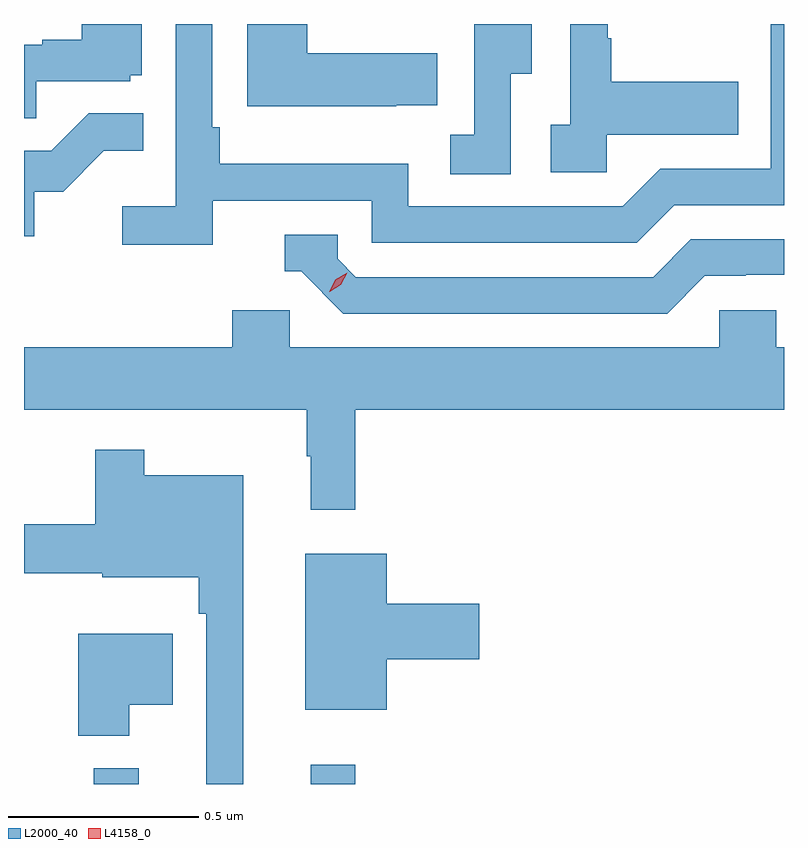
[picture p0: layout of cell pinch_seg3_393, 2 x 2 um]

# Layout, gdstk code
import gdstk
lib = gdstk.Library(unit=1e-6, precision=1e-09)
def R(c, l, rs):  # rectangles x0, y0, x1, y1
    for r in rs: c.add(gdstk.rectangle(r[:2], r[2:], *l))
def P(c, l, *ps):  # polygons
    for p in ps: c.add(gdstk.Polygon(p, *l))
L2000_40 = (2000, 40)
L4158_0 = (4158, 0)

pinch_seg3_393 = lib.new_cell('pinch_seg3_393')
R(pinch_seg3_393, L2000_40, [(965.029,686.611,965.147,686.653), (965.6,686.611,965.717,686.662)])
P(pinch_seg3_393, L2000_40, [(966.378,688.319),(966.725,688.319),(966.725,688.459),(966.391,688.459),(966.391,688.574),(966.381,688.574),(966.381,688.611),(966.282,688.611),(966.282,688.346),(966.231,688.346),(966.231,688.221),(966.378,688.221)],
  [(965.342,688.146),(965.76,688.146),(965.76,688.035),(966.457,688.035),(966.556,688.134),(966.845,688.134),(966.845,688.611),(966.81,688.611),(966.81,688.23),(966.519,688.23),(966.42,688.131),(965.856,688.131),(965.856,688.243),(965.36,688.243),(965.36,688.339),(965.34,688.339),(965.34,688.611),(965.244,688.611),(965.244,688.132),(965.103,688.132),(965.103,688.03),(965.342,688.03)],
  [(964.877,688.461),(965.124,688.461),(965.124,688.476),(965.155,688.476),(965.155,688.611),(964.997,688.611),(964.997,688.57),(964.893,688.57),(964.893,688.557),(964.845,688.557),(964.845,688.363),(964.877,688.363)],
  [(965.825,688.397),(965.933,688.397),(965.933,688.534),(965.59,688.534),(965.59,688.611),(965.432,688.611),(965.432,688.394),(965.825,688.394)],
  [(966.126,688.48),(966.181,688.48),(966.181,688.611),(966.03,688.611),(966.03,688.319),(965.967,688.319),(965.967,688.216),(966.126,688.216)],
  [(964.872,688.17),(964.948,688.17),(965.055,688.277),(965.159,688.277),(965.159,688.376),(965.015,688.376),(964.917,688.278),(964.845,688.278),(964.845,688.053),(964.872,688.053)],
  [(966.637,687.948),(966.744,687.948),(966.744,687.951),(966.845,687.951),(966.845,688.044),(966.6,688.044),(966.501,687.945),(965.718,687.945),(965.67,687.993),(965.67,688.056),(965.531,688.056),(965.531,687.96),(965.574,687.96),(965.685,687.849),(966.538,687.849)],
  [(965.717,687.596),(966.845,687.596),(966.845,687.76),(966.825,687.76),(966.825,687.858),(966.675,687.858),(966.675,687.76),(965.544,687.76),(965.544,687.858),(965.393,687.858),(965.393,687.76),(964.845,687.76),(964.845,687.596),(965.589,687.596),(965.589,687.473),(965.6,687.473),(965.6,687.333),(965.717,687.333)],
  [(965.422,687.424),(965.161,687.424),(965.161,687.49),(965.032,687.49),(965.032,687.295),(964.845,687.295),(964.845,687.166),(965.051,687.166),(965.051,687.155),(965.305,687.155),(965.305,687.059),(965.325,687.059),(965.325,686.611),(965.422,686.611)],
  [(965.8,686.939),(966.043,686.939),(966.043,687.086),(965.8,687.086),(965.8,687.217),(965.585,687.217),(965.585,686.807),(965.8,686.807)],
  [(965.122,686.819),(965.236,686.819),(965.236,687.007),(964.988,687.007),(964.988,686.738),(965.122,686.738)])
P(pinch_seg3_393, L4158_0, [(965.648,687.906),(965.648,687.906),(965.664,687.938),(965.695,687.957),(965.695,687.957),(965.695,687.957),(965.679,687.925),(965.649,687.906)])

lib.write_gds('pinch_seg3_393.gds')
